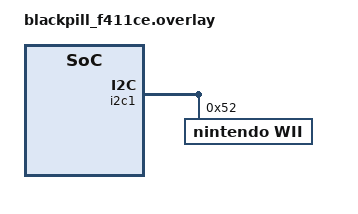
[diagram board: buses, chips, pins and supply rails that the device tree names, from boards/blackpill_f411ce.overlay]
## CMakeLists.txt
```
# SPDX-License-Identifier: Apache 2.0

cmake_minimum_required(VERSION 3.20.0)
list (APPEND SYSCALL_INCLUDE_DIRS 
    ${CMAKE_SOURCE_DIR}/../../extras/drivers/wii
)
find_package(Zephyr REQUIRED HINTS $ENV{ZEPHYR_BASE})

project(sample_wii_guitar)

target_sources(app PRIVATE
  src/main.c
  )
```

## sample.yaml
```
sample:
  name: Wii Guitar Access Sample
  description: Demonstrate basic access of wii guitar data
tests:
  sample.wii.guitar:
    build_only: true
    platform_allow: nrf52840dk_nrf52840
    tags: wii guitar
```

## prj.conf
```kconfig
# Copyright (c) 2022 Brian Bradley
# SPDX-License-Identifier: Apache-2.0

CONFIG_LOG=y
CONFIG_WII_PERIPHERAL_DRIVER=y
CONFIG_I2C=y
CONFIG_APPLICATION_DEFINED_SYSCALL=y
CONFIG_I2C_LOG_LEVEL_OFF=y
```

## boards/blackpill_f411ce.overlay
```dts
/*
 * Copyright 2021 Brian Bradley
 *
 * SPDX-License-Identifier: Apache-2.0
 */

&i2c1 {
	wii_guitar: wii@52 {
		compatible = "nintendo,wii";
		reg = <0x52>;
		label = "WII";
	};
};
```

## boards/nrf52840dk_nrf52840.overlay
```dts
/*
 * Copyright 2021 Brian Bradley
 *
 * SPDX-License-Identifier: Apache-2.0
 */

&i2c0 {
	wii_guitar: wii@52 {
		compatible = "nintendo,wii";
		reg = <0x52>;
		label = "WII";
	};
};
```

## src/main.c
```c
/**
 * @file main.c
 * @author Brian Bradley (brian.bradley.p@gmail.com)
 * @date 2022-02-18
 * 
 * @copyright Copyright (C) 2022 Brian Bradley
 * 
 * SPDX-License-Identifier: Apache-2.0
 * 
 */

#include <zephyr/kernel.h>
#include <wii.h>
#include <string.h>

#define WII_GUITAR	DT_NODELABEL(wii_guitar)

struct __attribute__((packed)) guitar_data{
	uint8_t analog_x: 6;
	uint8_t gh0: 2;
	uint8_t analog_y: 6;
	uint8_t gh1: 2;
	uint8_t touchbar: 5;
	uint8_t empty0: 3;
	uint8_t whammy: 5;
	uint8_t empty1: 3;
	uint16_t buttons: 16;
};

typedef union guitar_buttons{
	struct wii_btn_data frame;
	struct guitar_data guitar;
}buttons_t;

void main(void)
{
	const struct device *wii;
	int ret;

	wii = DEVICE_DT_GET(WII_GUITAR);
	if (wii == NULL) {
		printk("Error getting device");
	}

	while (1) {
		buttons_t data = {0};
		if (wii != NULL){
			if ((ret = wii_peripheral_fetch(wii, &data.frame)) != 0){
				printk("wii peripheral fetch error: %d\n", ret);
			}
			else{
				printk("\nraw data: ");
				for (int i = 0; i < sizeof(data.frame.raw) / sizeof(uint8_t); ++i){
					printk("%02x ", data.frame.raw[i]);
				}
				printk("\n");
				printk("x: %d y: %d whammy: %d buttons: %04x\n", \
					data.guitar.analog_x, data.guitar.analog_y, data.guitar.whammy, data.guitar.buttons);
			}
		}
		k_msleep(500);
	}
}
```
